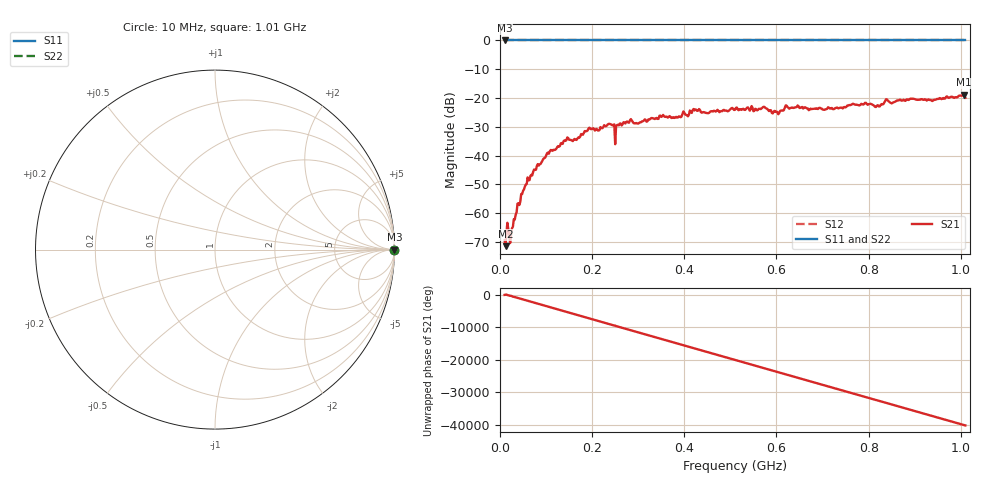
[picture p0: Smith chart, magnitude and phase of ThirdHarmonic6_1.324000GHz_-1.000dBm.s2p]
! 8/16/2025 2:45:03 PM
! C:\ANRITSUVNA\TEMP\TEMP.S2P
! CHANNEL.1
! TR.MEASUREMENT
! RAW.DATA
! RF.CORRECTION.OFF
! AVERAGING.OFF
! IF.BANDWIDTH: 5KHZ
! SWEEPTYPE:  FREQ.SWEEP(Linear)
! Reference Plane Port Info
! PORT:  PORT1  PORT2
! DISTANCE:  0  m  0  m
! TIME:  0  s  0  s
! PHASE.OFFSET:  0  deg.  0  deg.
! LOSS:  0  dB  0  dB
! REF.LOSS:  0  dB  0  dB
! REF.FREQ:  0  Hz  0  Hz
! Power Info
! POWER:  -20  dBm  -20  dBm
! EFF.POWER:  -20  dBm  -20  dBm
! SOURCE.ATTEN:  0  dB  0  dB
! TEST.ATTEN:  0  dB  0  dB
# GHZ S RI R 50.0
! FREQ.GHZ  S11RE  S11IM  S21RE  S21IM  S12RE  S12IM  S22RE  S22IM
!; PortSelection: Port_12
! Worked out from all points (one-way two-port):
!   501 points, 10 MHz to 1.01 GHz, reference 50 ohm
!   highest |S21| = -18.80 dB at 1.006 GHz (marker M1); lowest = -71.4 dB at 12 MHz (marker M2)
!   lowest |S11| = 0.0 dB at 10 MHz (marker M3)
!   |S11| at or under -10 dB: nowhere
!   |S22| runs from 0.0 to 0.0 dB; largest |S21 - S12| = 1.1
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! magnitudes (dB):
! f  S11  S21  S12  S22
! 10 MHz  0.0  -69.4  0.0  0.0
! 12 MHz  0.0  -71.4  0.0  0.0
! 24 MHz  0.0  -67.5  0.0  0.0
! 50 MHz  0.0  -52.2  0.0  0.0
! 78 MHz  0.0  -44.9  0.0  0.0
! 142 MHz  0.0  -34.9  0.0  0.0
! 178 MHz  0.0  -32.6  0.0  0.0
! 236 MHz  0.0  -28.9  0.0  0.0
! 254 MHz  0.0  -29.4  0.0  0.0
! 280 MHz  0.0  -28.6  0.0  0.0
! 344 MHz  0.0  -27.2  0.0  0.0
! 390 MHz  0.0  -26.4  0.0  0.0
! 422 MHz  0.0  -24.3  0.0  0.0
! 510 MHz  0.0  -24.1  0.0  0.0
! 574 MHz  0.0  -23.1  0.0  0.0
! 602 MHz  0.0  -24.9  0.0  0.0
! 622 MHz  0.0  -22.6  0.0  0.0
! 678 MHz  0.0  -23.8  0.0  0.0
! 818 MHz  0.0  -22.7  0.0  0.0
! 844 MHz  0.0  -21.2  0.0  0.0
! 1.006 GHz  0.0  -18.8  0.0  0.0
! 1.01 GHz  0.0  -19.9  0.0  0.0
